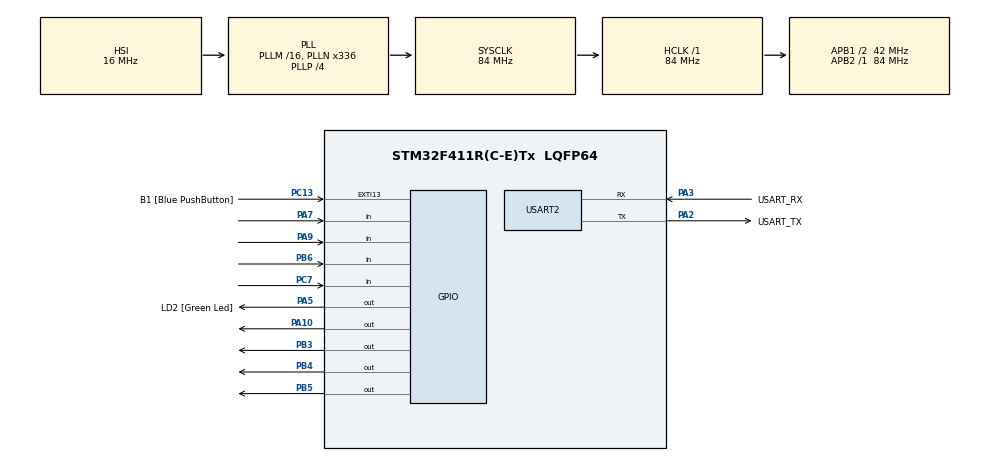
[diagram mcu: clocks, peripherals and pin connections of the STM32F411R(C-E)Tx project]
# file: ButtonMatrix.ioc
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Mcu.Family=STM32F4
Mcu.Name=STM32F411R(C-E)Tx
Mcu.Package=LQFP64
NVIC.PriorityGroup=NVIC_PRIORITYGROUP_0
PA10.GPIO_ModeDefaultOutputPP=GPIO_MODE_OUTPUT_OD
PA10.GPIO_PuPd=GPIO_NOPULL
PA10.PinState=GPIO_PIN_SET
PA10.Signal=GPIO_Output
PA13.GPIO_Label=TMS
PA13.Mode=Serial_Wire
PA13.Signal=SYS_JTMS-SWDIO
PA14.GPIO_Label=TCK
PA14.Mode=Serial_Wire
PA14.Signal=SYS_JTCK-SWCLK
PA2.GPIO_Label=USART_TX
PA2.Mode=Asynchronous
PA2.Signal=USART2_TX
PA3.GPIO_Label=USART_RX
PA3.Mode=Asynchronous
PA3.Signal=USART2_RX
PA5.GPIO_Label=LD2 [Green Led]
PA5.Signal=GPIO_Output
PA7.GPIO_PuPd=GPIO_PULLUP
PA7.Signal=GPIO_Input
PA9.GPIO_PuPd=GPIO_PULLUP
PA9.Signal=GPIO_Input
PB3.GPIO_ModeDefaultOutputPP=GPIO_MODE_OUTPUT_OD
PB3.GPIO_PuPd=GPIO_NOPULL
PB3.PinState=GPIO_PIN_SET
PB3.Signal=GPIO_Output
PB4.GPIO_ModeDefaultOutputPP=GPIO_MODE_OUTPUT_OD
PB4.GPIO_PuPd=GPIO_NOPULL
PB4.PinState=GPIO_PIN_SET
PB4.Signal=GPIO_Output
PB5.GPIO_ModeDefaultOutputPP=GPIO_MODE_OUTPUT_OD
PB5.GPIO_PuPd=GPIO_NOPULL
PB5.PinState=GPIO_PIN_SET
PB5.Signal=GPIO_Output
PB6.GPIO_PuPd=GPIO_PULLUP
PB6.Signal=GPIO_Input
PC13-ANTI_TAMP.GPIO_Label=B1 [Blue PushButton]
PC13-ANTI_TAMP.GPIO_ModeDefaultEXTI=GPIO_MODE_IT_FALLING
PC13-ANTI_TAMP.Signal=GPXTI13
PC14-OSC32_IN.Mode=LSE-External-Oscillator
PC14-OSC32_IN.Signal=RCC_OSC32_IN
PC15-OSC32_OUT.Mode=LSE-External-Oscillator
PC15-OSC32_OUT.Signal=RCC_OSC32_OUT
PC7.GPIO_PuPd=GPIO_PULLUP
PC7.Signal=GPIO_Input
PH0\ -\ OSC_IN.Mode=HSE-External-Clock-Source
PH0\ -\ OSC_IN.Signal=RCC_OSC_IN
PH1\ -\ OSC_OUT.Mode=HSE-External-Clock-Source
PH1\ -\ OSC_OUT.Signal=RCC_OSC_OUT
ProjectManager.HeapSize=0x200
ProjectManager.StackSize=0x400
ProjectManager.TargetToolchain=STM32CubeIDE
RCC.48MHZClocksFreq_Value=84000000
RCC.AHBFreq_Value=84000000
RCC.APB1CLKDivider=RCC_HCLK_DIV2
RCC.APB1Freq_Value=42000000
RCC.APB1TimFreq_Value=84000000
RCC.APB2Freq_Value=84000000
RCC.APB2TimFreq_Value=84000000
RCC.CortexFreq_Value=84000000
RCC.FLatency-AdvancedSettings=FLASH_LATENCY_2
RCC.HCLKFreq_Value=84000000
RCC.HSE_VALUE=8000000
RCC.HSI_VALUE=16000000
RCC.PLLN=336
RCC.PLLP=RCC_PLLP_DIV4
RCC.SYSCLKFreq_VALUE=84000000
RCC.SYSCLKSource=RCC_SYSCLKSOURCE_PLLCLK
RCC.VCOOutputFreq_Value=336000000
USART2.VirtualMode=VM_ASYNC
board=NUCLEO-F411RE

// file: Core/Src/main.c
/* USER CODE BEGIN Header */
/**
  ******************************************************************************
  * @file           : main.c
  * @brief          : Main program body
  ******************************************************************************
  * @attention
  *
  * Copyright (c) 2023 STMicroelectronics.
  * All rights reserved.
  *
  * This software is licensed under terms that can be found in the LICENSE file
  * in the root directory of this software component.
  * If no LICENSE file comes with this software, it is provided AS-IS.
  *
  ******************************************************************************
  */
/* USER CODE END Header */
#include "main.h"

/* USER CODE BEGIN Includes */
	//นภัสสร 64340500035
/* USER CODE END Includes */

UART_HandleTypeDef huart2;

/* USER CODE BEGIN PV */

typedef struct _CheckState
{
	uint16_t current;
	uint16_t last;
}CheckState;

CheckState Check[16] =
{
	{1, 1},
	{1, 1},
	{1, 1},
	{1, 1},
	{1, 1},
	{1, 1},
	{1, 1},
	{1, 1},
	{1, 1},
	{1, 1},
	{1, 1},
	{1, 1},
	{1, 1},
	{1, 1},
	{1, 1},
	{1, 1}
}; // Check State

typedef struct _PortPin
{
 GPIO_TypeDef* PORT;
 uint16_t PIN;
}PortPin;

PortPin R[4] =
{
  {GPIOA,GPIO_PIN_10},
  {GPIOB,GPIO_PIN_3},
  {GPIOB,GPIO_PIN_5},
  {GPIOB,GPIO_PIN_4}

};

PortPin L[4] =
{
  {GPIOA,GPIO_PIN_9},
  {GPIOC,GPIO_PIN_7},
  {GPIOB,GPIO_PIN_6},
  {GPIOA,GPIO_PIN_7}

};

uint16_t ButtonMatrix = 0;
uint16_t Test = 0;
uint16_t edge = 0;

int num[11]={0}, j = 0;
int StudentNumber[11] = {6,4,3,4,0,5,0,0,0,3,5};
int checkLED = 0;
int SameNum = 0;

/* USER CODE END PV */

void SystemClock_Config(void);
static void MX_GPIO_Init(void);
static void MX_USART2_UART_Init(void);
void StateNum();
void ReadMatrixButton_1Row();

int main(void)
{

  /* MCU Configuration--------------------------------------------------------*/

  /* Reset of all peripherals, Initializes the Flash interface and the Systick. */
  HAL_Init();

  /* Configure the system clock */
  SystemClock_Config();

  /* Initialize all configured peripherals */
  MX_GPIO_Init();
  MX_USART2_UART_Init();

  /* Infinite loop */
  while (1)
  {

    /* USER CODE BEGIN 3 */

	  // call  function every 10 ms == 100 Hz
	  static uint32_t timestamp = 0;
	     if(HAL_GetTick()>=timestamp)
	     {
	      timestamp = HAL_GetTick() + 10;
	      ReadMatrixButton_1Row();
	     }
	     StateNum();

  }
  /* USER CODE END 3 */
}

void SystemClock_Config(void)
{
  RCC_OscInitTypeDef RCC_OscInitStruct = {0};
  RCC_ClkInitTypeDef RCC_ClkInitStruct = {0};

  /** Configure the main internal regulator output voltage
  */
  __HAL_RCC_PWR_CLK_ENABLE();
  __HAL_PWR_VOLTAGESCALING_CONFIG(PWR_REGULATOR_VOLTAGE_SCALE1);

  /** Initializes the RCC Oscillators according to the specified parameters
  * in the RCC_OscInitTypeDef structure.
  */
  RCC_OscInitStruct.OscillatorType = RCC_OSCILLATORTYPE_HSI;
  RCC_OscInitStruct.HSIState = RCC_HSI_ON;
  RCC_OscInitStruct.HSICalibrationValue = RCC_HSICALIBRATION_DEFAULT;
  RCC_OscInitStruct.PLL.PLLState = RCC_PLL_ON;
  RCC_OscInitStruct.PLL.PLLSource = RCC_PLLSOURCE_HSI;
  RCC_OscInitStruct.PLL.PLLM = 16;
  RCC_OscInitStruct.PLL.PLLN = 336;
  RCC_OscInitStruct.PLL.PLLP = RCC_PLLP_DIV4;
  RCC_OscInitStruct.PLL.PLLQ = 4;
  if (HAL_RCC_OscConfig(&RCC_OscInitStruct) != HAL_OK)
  {
    Error_Handler();
  }

  /** Initializes the CPU, AHB and APB buses clocks
  */
  RCC_ClkInitStruct.ClockType = RCC_CLOCKTYPE_HCLK|RCC_CLOCKTYPE_SYSCLK
                              |RCC_CLOCKTYPE_PCLK1|RCC_CLOCKTYPE_PCLK2;
  RCC_ClkInitStruct.SYSCLKSource = RCC_SYSCLKSOURCE_PLLCLK;
  RCC_ClkInitStruct.AHBCLKDivider = RCC_SYSCLK_DIV1;
  RCC_ClkInitStruct.APB1CLKDivider = RCC_HCLK_DIV2;
  RCC_ClkInitStruct.APB2CLKDivider = RCC_HCLK_DIV1;

  if (HAL_RCC_ClockConfig(&RCC_ClkInitStruct, FLASH_LATENCY_2) != HAL_OK)
  {
    Error_Handler();
  }
}

static void MX_USART2_UART_Init(void)
{

  huart2.Instance = USART2;
  huart2.Init.BaudRate = 115200;
  huart2.Init.WordLength = UART_WORDLENGTH_8B;
  huart2.Init.StopBits = UART_STOPBITS_1;
  huart2.Init.Parity = UART_PARITY_NONE;
  huart2.Init.Mode = UART_MODE_TX_RX;
  huart2.Init.HwFlowCtl = UART_HWCONTROL_NONE;
  huart2.Init.OverSampling = UART_OVERSAMPLING_16;
  if (HAL_UART_Init(&huart2) != HAL_OK)
  {
    Error_Handler();
  }

}

static void MX_GPIO_Init(void)
{
  GPIO_InitTypeDef GPIO_InitStruct = {0};

  /* GPIO Ports Clock Enable */
  __HAL_RCC_GPIOC_CLK_ENABLE();
  __HAL_RCC_GPIOH_CLK_ENABLE();
  __HAL_RCC_GPIOA_CLK_ENABLE();
  __HAL_RCC_GPIOB_CLK_ENABLE();

  /*Configure GPIO pin Output Level */
  HAL_GPIO_WritePin(LD2_GPIO_Port, LD2_Pin, GPIO_PIN_RESET);

  /*Configure GPIO pin Output Level */
  HAL_GPIO_WritePin(GPIOA, GPIO_PIN_10, GPIO_PIN_SET);

  /*Configure GPIO pin Output Level */
  HAL_GPIO_WritePin(GPIOB, GPIO_PIN_3|GPIO_PIN_4|GPIO_PIN_5, GPIO_PIN_SET);

  /*Configure GPIO pin : B1_Pin */
  GPIO_InitStruct.Pin = B1_Pin;
  GPIO_InitStruct.Mode = GPIO_MODE_IT_FALLING;
  GPIO_InitStruct.Pull = GPIO_NOPULL;
  HAL_GPIO_Init(B1_GPIO_Port, &GPIO_InitStruct);

  /*Configure GPIO pin : LD2_Pin */
  GPIO_InitStruct.Pin = LD2_Pin;
  GPIO_InitStruct.Mode = GPIO_MODE_OUTPUT_PP;
  GPIO_InitStruct.Pull = GPIO_NOPULL;
  GPIO_InitStruct.Speed = GPIO_SPEED_FREQ_LOW;
  HAL_GPIO_Init(LD2_GPIO_Port, &GPIO_InitStruct);

  /*Configure GPIO pins : PA7 PA9 */
  GPIO_InitStruct.Pin = GPIO_PIN_7|GPIO_PIN_9;
  GPIO_InitStruct.Mode = GPIO_MODE_INPUT;
  GPIO_InitStruct.Pull = GPIO_PULLUP;
  HAL_GPIO_Init(GPIOA, &GPIO_InitStruct);

  /*Configure GPIO pin : PC7 */
  GPIO_InitStruct.Pin = GPIO_PIN_7;
  GPIO_InitStruct.Mode = GPIO_MODE_INPUT;
  GPIO_InitStruct.Pull = GPIO_PULLUP;
  HAL_GPIO_Init(GPIOC, &GPIO_InitStruct);

  /*Configure GPIO pin : PA10 */
  GPIO_InitStruct.Pin = GPIO_PIN_10;
  GPIO_InitStruct.Mode = GPIO_MODE_OUTPUT_OD;
  GPIO_InitStruct.Pull = GPIO_NOPULL;
  GPIO_InitStruct.Speed = GPIO_SPEED_FREQ_LOW;
  HAL_GPIO_Init(GPIOA, &GPIO_InitStruct);

  /*Configure GPIO pins : PB3 PB4 PB5 */
  GPIO_InitStruct.Pin = GPIO_PIN_3|GPIO_PIN_4|GPIO_PIN_5;
  GPIO_InitStruct.Mode = GPIO_MODE_OUTPUT_OD;
  GPIO_InitStruct.Pull = GPIO_NOPULL;
  GPIO_InitStruct.Speed = GPIO_SPEED_FREQ_LOW;
  HAL_GPIO_Init(GPIOB, &GPIO_InitStruct);

  /*Configure GPIO pin : PB6 */
  GPIO_InitStruct.Pin = GPIO_PIN_6;
  GPIO_InitStruct.Mode = GPIO_MODE_INPUT;
  GPIO_InitStruct.Pull = GPIO_PULLUP;
  HAL_GPIO_Init(GPIOB, &GPIO_InitStruct);

}

/* USER CODE BEGIN 4 */

//Read matrix button
void ReadMatrixButton_1Row()
	{
	static uint8_t X = 0;
	// read L1-L4
	register int i;
	for(i=0;i<4;i++)
	{
		if(HAL_GPIO_ReadPin(L[i].PORT, L[i].PIN)) //== 1(high)
		{
			Check[X*4+i].current = 1;
			ButtonMatrix &= ~(1<<(X*4+i));
			// i == 0, x == 0
			// ~(1<<0)
			// ~1
			// ~0b0000000000000001
			// 0b1111111111111110
		}
		else
		{
			Check[X*4+i].current = 0;
			ButtonMatrix |= 1<<(X*4+i);
			//B1.current = ButtonMatrix |= 1<<(X*4+i);
			// 0b0000000000000100

			if(Check[X*4+i].last == 1 && Check[X*4+i].current == 0)
			{
				edge = 1;
			}
		}

		Check[X*4+i].last = Check[X*4+i].current;
	}
	HAL_GPIO_WritePin(R[X].PORT, R[X].PIN, 1);
	HAL_GPIO_WritePin(R[(X+1)%4].PORT, R[(X+1)%4].PIN, 0);
	X++;
	X%=4;
	}

void StateNum()
{
    if (ButtonMatrix == 4096 && edge == 1)
    {
    	 j = 0;
    	 for(int m=0;m<12;m++)
    	 {
    		 num[m]=0;
    	 }
    	 HAL_GPIO_WritePin(LD2_GPIO_Port, LD2_Pin, 0);
    }
    else if (ButtonMatrix == 8192 && edge == 1)
    {
    	 num[j-1] = 0;
    	 j = j-1;
    	 checkLED = 0;
    	 HAL_GPIO_WritePin(LD2_GPIO_Port, LD2_Pin, 0);
    }
    else if(ButtonMatrix == 8 && edge == 1)
    {
    	 num[j] = 0;
   	 	 j=j+1;
   	 	 checkLED = 0;
   	 	HAL_GPIO_WritePin(LD2_GPIO_Port, LD2_Pin, 0);
    }
    else if(ButtonMatrix == 4 && edge == 1)
    {
    	 num[j] = 1;
   	 	 j=j+1;
   	 	 checkLED = 0;
   	 	HAL_GPIO_WritePin(LD2_GPIO_Port, LD2_Pin, 0);
    }
    else if(ButtonMatrix == 64 && edge == 1)
    {
    	 num[j] = 2;
    	 j=j+1;
    	 checkLED = 0;
    	 HAL_GPIO_WritePin(LD2_GPIO_Port, LD2_Pin, 0);
    }
    else if(ButtonMatrix == 1024 && edge == 1)
    {
    	 num[j] = 3;
    	 j=j+1;
    	 checkLED = 0;
    	 HAL_GPIO_WritePin(LD2_GPIO_Port, LD2_Pin, 0);
    }
    else if(ButtonMatrix == 2 && edge == 1)
    {
    	 num[j] = 4;
    	 j=j+1;
    	 checkLED = 0;
    	 HAL_GPIO_WritePin(LD2_GPIO_Port, LD2_Pin, 0);
    }
    else if(ButtonMatrix == 32 && edge == 1)
    {
    	 num[j] = 5;
    	 j=j+1;
    	 checkLED = 0;
    	 HAL_GPIO_WritePin(LD2_GPIO_Port, LD2_Pin, 0);
    }
    else if(ButtonMatrix == 512 && edge == 1)
    {
    	 num[j] = 6;
    	 j=j+1;
    	 checkLED = 0;
    	 HAL_GPIO_WritePin(LD2_GPIO_Port, LD2_Pin, 0);
    }
    else if(ButtonMatrix == 1 && edge == 1)
    {
    	 num[j] = 7;
    	 j=j+1;
    	 checkLED = 0;
    	 HAL_GPIO_WritePin(LD2_GPIO_Port, LD2_Pin, 0);
    }
    else if(ButtonMatrix == 16 && edge == 1)
    {
    	 num[j] = 8;
    	 j=j+1;
    	 checkLED = 0;
    	 HAL_GPIO_WritePin(LD2_GPIO_Port, LD2_Pin, 0);
    }
    else if(ButtonMatrix == 256 && edge == 1)
    {
    	 num[j] = 9;
    	 j=j+1;
    	 checkLED = 0;
    	 HAL_GPIO_WritePin(LD2_GPIO_Port, LD2_Pin, 0);
    }
    else if(ButtonMatrix == 32768 && edge == 1)
    {
    	 for(int k=0;k<12;k++)
    	 {
    		 if(num[k] == StudentNumber[k])
    		 {
    			 SameNum = SameNum + 1;
    		 }
    	 }
    	 if(SameNum == 11)
    	 {
    		 checkLED = 1;
    		 HAL_GPIO_WritePin(LD2_GPIO_Port, LD2_Pin, 1);
    		 j = 0;
    		 for(int m=0;m<21;m++)
    		 {
    			 num[m]=0;
    		 }
    	 }
    	 SameNum = 0;
    }

    edge = 0;
}

/* USER CODE END 4 */

void Error_Handler(void)
{
  __disable_irq();
  while (1)
  {
  }
}
